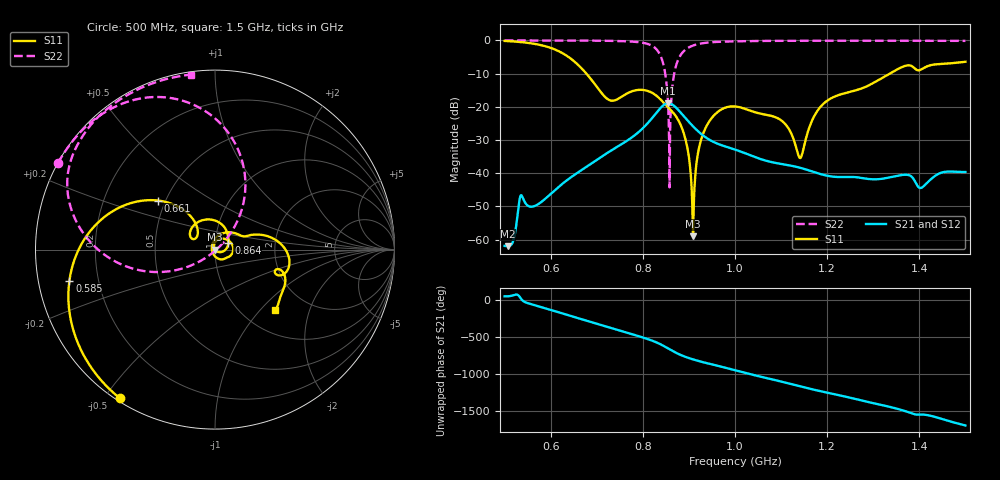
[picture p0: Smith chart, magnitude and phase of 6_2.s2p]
! TOUCHSTONE file generated by CST MICROWAVE STUDIO
! Date and time: Fri Oct  2 16:32:25 2020
! Project name: Scenario_1_Free_Space_out_of_line.cst
! Parameters = {Lambda=346.42; Step_1=17.321; dy1=260.935; dx1=346; L_HA=400; MT=2.54; Rad_Dielectric=30; Rad_Lower=7.3; Rad_Upper=30; a_HA=580; a_WG=246; b_HA=500; b_WG=121; c_HA=0; c_WG=187; d_feed=85; h_feed=15; h_lower=18; h_upper=40}
! Header version: 2018
! Port assignment regex: !\s*Touchstone port\s*([0-9]+)\s*=\s*(CST MWS port|CST DS port)\s*([0-9]+|Zmin|Zmax)\s*\(\"(.*)\"\)(\s*mode\s*([0-9]+))?.*
! Touchstone port assignment:
! Touchstone port 1 = CST MWS port 1 ("")
! Touchstone port 2 = CST MWS port 2 ("")
# GHz S DB R 50
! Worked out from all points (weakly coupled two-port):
!   1003 points, 500 MHz to 1.5 GHz, reference 50 ohm
!   highest |S21| = -18.91 dB at 855 MHz (marker M1); lowest = -62.0 dB at 507 MHz (marker M2)
!   lowest |S11| = -58.9 dB at 909 MHz (marker M3), VSWR 1.00, Z = 49.9 - j0.0508 ohm
!   |S11| at or under -10 dB: 677.5 MHz to 1.335 GHz (657.8 MHz wide, 65.4 % of centre)
!   |S22| runs from -44.2 to 0.0 dB; largest |S21 - S12| = 2.2e-05
!   S11 on the Smith chart (normalised r, x): 500 MHz: 0.01, -0.55; 585 MHz: 0.09, -0.10; 661 MHz: 0.46, +0.30; 864 MHz: 1.16, +0.09; 1.5 GHz: 1.39, -1.22
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0.5  -0.15 -122.6  -61.88 53.4  -61.88 53.4  -0.01 151.1
0.507  -0.20 -125.7  -61.96 53.4  -61.96 53.4  -0.01 150.7
0.536  -0.50 -139.6  -46.59 17.4  -46.57 17.2  -0.01 148.7
0.585  -1.62 -167.9  -48.06 -101.0  -48.06 -101.0  -0.02 145.2
0.661  -7.56 139.2  -39.59 115.2  -39.59 115.2  -0.04 138.9
0.667  -8.40 135.8  -39.04 104.2  -39.04 104.2  -0.04 138.3
0.728  -18.01 141.2  -33.43 -8.6  -33.43 -8.6  -0.12 131.1
0.834  -17.18 69.5  -21.02 138.4  -21.02 138.4  -3.48 84.7
0.848  -19.20 49.6  -19.20 93.1  -19.20 93.1  -9.52 60.6
0.855  -20.21 40.3  -18.91 67.9  -18.91 67.9  -19.96 44.3
0.864  -21.48 27.0  -19.32 35.9  -19.32 35.9  -13.97 -149.2
0.873  -23.10 11.3  -20.37 6.9  -20.37 6.9  -7.16 -164.9
0.893  -30.03 -27.3  -23.47 -45.5  -23.47 -45.5  -2.73 173.6
0.909  -58.93 -153.3  -25.89 -78.9  -25.89 -78.9  -1.53 163.7
0.921  -32.96 108.3  -27.50 -100.6  -27.50 -100.6  -1.06 158.2
0.936  -26.40 82.9  -29.16 -125.0  -29.16 -125.0  -0.72 153.0
1  -19.88 -2.0  -32.87 135.1  -32.87 135.1  -0.27 140.3
1.101  -24.14 -60.4  -37.22 -19.3  -37.22 -19.3  -0.12 129.6
1.141  -35.42 -167.6  -38.34 -82.0  -38.34 -82.0  -0.10 126.3
1.167  -24.19 88.7  -39.44 -121.9  -39.44 -121.9  -0.09 124.2
1.334  -10.11 13.2  -41.28 3.0  -41.28 3.0  -0.09 111.5
1.5  -6.42 -45.2  -39.62 109.1  -39.62 109.1  -0.14 97.9
